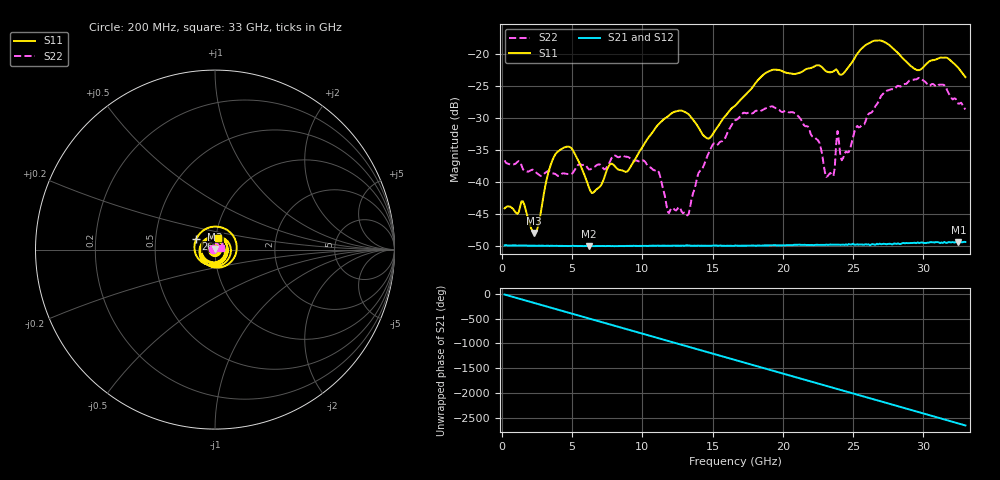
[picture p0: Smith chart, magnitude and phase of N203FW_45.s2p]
# GHZ S RI R 50
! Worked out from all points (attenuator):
!   329 points, 200 MHz to 33 GHz, reference 50 ohm
!   highest |S21| = -49.42 dB at 32.5 GHz (marker M1); lowest = -50.1 dB at 6.2 GHz (marker M2)
!   lowest |S11| = -48.0 dB at 2.3 GHz (marker M3), VSWR 1.01, Z = 50.2 + j0.367 ohm
!   |S11| at or under -10 dB: start of sweep to end of sweep
!   |S22| runs from -45.3 to -23.7 dB; largest |S21 - S12| = 8.8e-05
!   S11 on the Smith chart (normalised r, x): 200 MHz: 1.01, +0.00; 26 GHz: 0.80, +0.10; 33 GHz: 1.03, +0.13
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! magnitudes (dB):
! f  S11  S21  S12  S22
! 200 MHz  -44.1  -50.0  -49.9  -36.6
! 1.5 GHz  -43.0  -50.0  -50.0  -38.0
! 2.3 GHz  -48.0  -50.0  -50.0  -38.2
! 3.8 GHz  -35.7  -50.0  -50.0  -38.7
! 5.7 GHz  -37.9  -50.1  -50.1  -37.4
! 6.2 GHz  -40.9  -50.1  -50.1  -38.0
! 9 GHz  -38.2  -50.1  -50.0  -36.1
! 11.2 GHz  -30.9  -50.0  -50.0  -38.6
! 11.8 GHz  -29.8  -50.0  -50.0  -44.6
! 13.2 GHz  -29.2  -50.0  -50.0  -45.3
! 14.7 GHz  -33.2  -50.0  -50.0  -35.6
! 16.6 GHz  -28.1  -50.0  -50.0  -30.3
! 19.3 GHz  -22.4  -49.9  -49.9  -28.2
! 22.1 GHz  -22.0  -49.9  -49.9  -32.9
! 23.6 GHz  -22.7  -49.9  -49.9  -39.1
! 23.9 GHz  -22.6  -49.9  -49.9  -32.0
! 24.2 GHz  -23.2  -49.9  -49.8  -36.6
! 26 GHz  -18.4  -49.8  -49.8  -29.7
! 27.6 GHz  -18.6  -49.7  -49.7  -25.5
! 29.8 GHz  -22.4  -49.6  -49.6  -23.7
! 32.5 GHz  -22.1  -49.4  -49.4  -27.7
! 33 GHz  -23.5  -49.4  -49.5  -28.6
